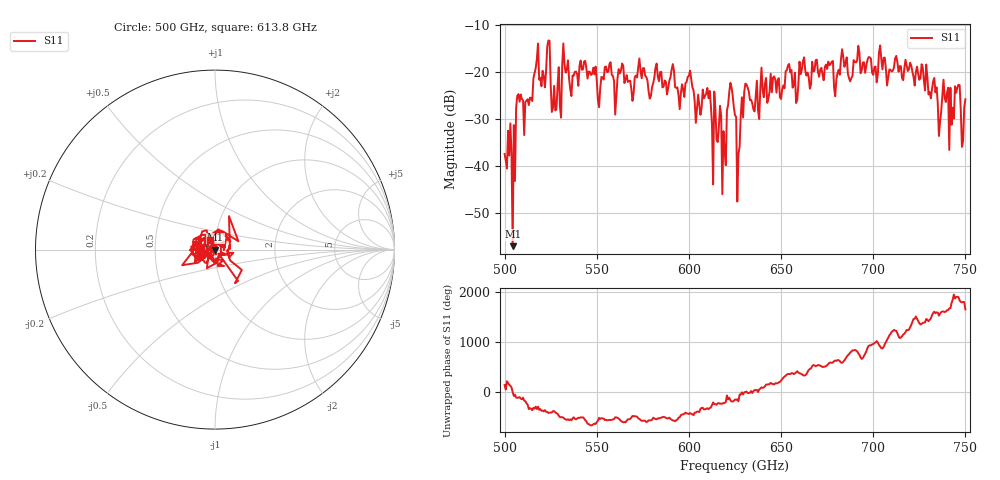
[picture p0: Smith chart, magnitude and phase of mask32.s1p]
!Created with skrf (http://scikit-rf.org).
# GHz S MA R 50.0
!freq magS11 angS11
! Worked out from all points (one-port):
!   401 points, 500 GHz to 750 GHz, reference 50 ohm
!   lowest |S11| = -57.1 dB at 504.4 GHz (marker M1), VSWR 1.00, Z = 50.1 - j0.00168 ohm
!   |S11| at or under -10 dB: start of sweep to end of sweep
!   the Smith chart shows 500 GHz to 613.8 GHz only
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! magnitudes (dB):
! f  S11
! 500 GHz  -37.4
! 504.4 GHz  -57.1
! 507.5 GHz  -24.7
! 511.9 GHz  -26.1
! 516.9 GHz  -19.1
! 520.6 GHz  -19.7
! 523.8 GHz  -13.2
! 526.9 GHz  -22.9
! 531.2 GHz  -18.5
! 562.5 GHz  -20.2
! 593.8 GHz  -23.2
! 610 GHz  -23.3
! 618.8 GHz  -32.6
! 623.1 GHz  -23.2
! 625 GHz  -29.1
! 627.5 GHz  -35.9
! 631.2 GHz  -22.6
! 656.2 GHz  -23.3
! 684.4 GHz  -18.8
! 687.5 GHz  -21.9
! 691.2 GHz  -17.5
! 718.8 GHz  -19.7
! 733.1 GHz  -21.2
! 736.2 GHz  -30.7
! 739.4 GHz  -26.4
! 742.5 GHz  -31.2
! 745.6 GHz  -23.3
! 750 GHz  -25.8
